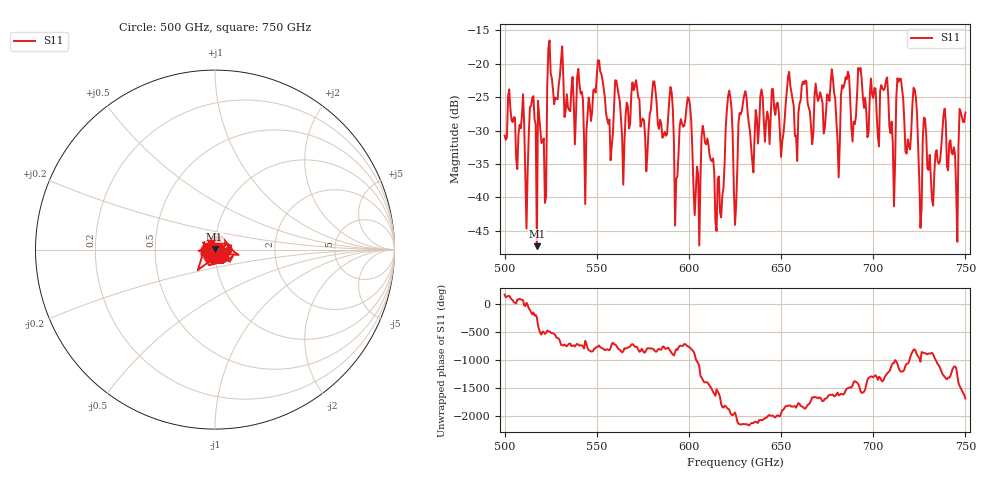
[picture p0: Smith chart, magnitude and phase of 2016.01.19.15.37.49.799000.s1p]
!Created with skrf (http://scikit-rf.org).
# GHz S RI R 50.0
!freq ReS11 ImS11
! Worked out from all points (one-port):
!   401 points, 500 GHz to 750 GHz, reference 50 ohm
!   lowest |S11| = -47.3 dB at 517.5 GHz (marker M1), VSWR 1.01, Z = 49.8 + j0.37 ohm
!   |S11| at or under -10 dB: start of sweep to end of sweep
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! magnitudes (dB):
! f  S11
! 500 GHz  -30.7
! 517.5 GHz  -47.3
! 531.2 GHz  -17.4
! 543.8 GHz  -41.0
! 551.2 GHz  -19.5
! 557.5 GHz  -34.5
! 562.5 GHz  -25.6
! 590 GHz  -23.5
! 593.8 GHz  -36.9
! 600 GHz  -25.2
! 604.4 GHz  -35.4
! 608.1 GHz  -30.3
! 616.2 GHz  -36.9
! 621.9 GHz  -24.0
! 625 GHz  -44.1
! 630 GHz  -24.7
! 634.4 GHz  -34.6
! 656.2 GHz  -25.2
! 687.5 GHz  -25.3
! 706.9 GHz  -22.5
! 710.6 GHz  -32.1
! 714.4 GHz  -22.2
! 718.8 GHz  -31.3
! 722.5 GHz  -23.8
! 725.6 GHz  -44.6
! 738.1 GHz  -27.7
! 744.4 GHz  -33.5
! 750 GHz  -27.3
